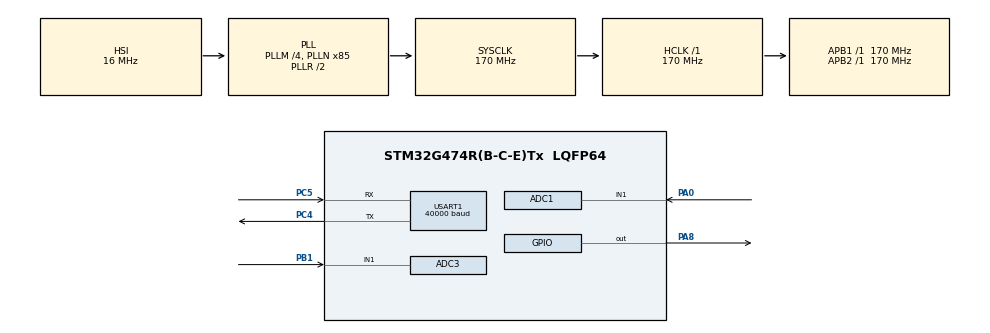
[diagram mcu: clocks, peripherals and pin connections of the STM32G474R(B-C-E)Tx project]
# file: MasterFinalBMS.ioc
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ADC1.Channel-0\#ChannelRegularConversion=ADC_CHANNEL_1
ADC1.ClockPrescaler=ADC_CLOCK_ASYNC_DIV4
ADC1.ContinuousConvMode=ENABLE
ADC1.NbrOfConversionFlag=1
ADC1.OffsetNumber-0\#ChannelRegularConversion=ADC_OFFSET_NONE
ADC1.OversamplingMode=ENABLE
ADC1.Rank-0\#ChannelRegularConversion=1
ADC1.Ratio=ADC_OVERSAMPLING_RATIO_256
ADC1.RightBitShift=ADC_RIGHTBITSHIFT_4
ADC1.SamplingTime-0\#ChannelRegularConversion=ADC_SAMPLETIME_2CYCLES_5
ADC1.master=1
ADC3.Channel-0\#ChannelRegularConversion=ADC_CHANNEL_1
ADC3.ClockPrescaler=ADC_CLOCK_ASYNC_DIV4
ADC3.ContinuousConvMode=ENABLE
ADC3.NbrOfConversionFlag=1
ADC3.OffsetNumber-0\#ChannelRegularConversion=ADC_OFFSET_NONE
ADC3.OversamplingMode=ENABLE
ADC3.Rank-0\#ChannelRegularConversion=1
ADC3.Ratio=ADC_OVERSAMPLING_RATIO_256
ADC3.RightBitShift=ADC_RIGHTBITSHIFT_4
ADC3.SamplingTime-0\#ChannelRegularConversion=ADC_SAMPLETIME_2CYCLES_5
ADC3.master=1
Mcu.Family=STM32G4
Mcu.Name=STM32G474R(B-C-E)Tx
Mcu.Package=LQFP64
NVIC.PriorityGroup=NVIC_PRIORITYGROUP_4
NVIC.USART1_IRQn=true\:0\:0\:false\:false\:true\:true\:true\:true
PA0.Mode=IN1-Single-Ended
PA0.Signal=ADC1_IN1
PA8.Signal=GPIO_Output
PB1.Mode=IN1-Single-Ended
PB1.Signal=ADC3_IN1
PC4.Mode=Asynchronous
PC4.Signal=USART1_TX
PC5.Mode=Asynchronous
PC5.Signal=USART1_RX
ProjectManager.HeapSize=0x200
ProjectManager.StackSize=0x400
ProjectManager.TargetToolchain=STM32CubeIDE
RCC.ADC12Freq_Value=170000000
RCC.ADC345Freq_Value=170000000
RCC.AHBFreq_Value=170000000
RCC.APB1Freq_Value=170000000
RCC.APB1TimFreq_Value=170000000
RCC.APB2Freq_Value=170000000
RCC.APB2TimFreq_Value=170000000
RCC.CortexFreq_Value=170000000
RCC.EXTERNAL_CLOCK_VALUE=12288000
RCC.HCLKFreq_Value=170000000
RCC.HSE_VALUE=8000000
RCC.HSI48_VALUE=48000000
RCC.HSI_VALUE=16000000
RCC.LSE_VALUE=32768
RCC.PLLM=RCC_PLLM_DIV4
RCC.PLLN=85
RCC.SYSCLKFreq_VALUE=170000000
RCC.SYSCLKSource=RCC_SYSCLKSOURCE_PLLCLK
RCC.USBFreq_Value=170000000
RCC.VCOOutputFreq_Value=340000000
USART1.BaudRate=40000
USART1.VirtualMode-Asynchronous=VM_ASYNC
VP_SYS_VS_DBSignals.Mode=DisableDeadBatterySignals
board=custom

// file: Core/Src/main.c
/* USER CODE BEGIN Header */
/**
  ******************************************************************************
  * @file           : main.c
  * @brief          : Main program body
  ******************************************************************************
  * @attention
  *
  * Copyright (c) 2024 STMicroelectronics.
  * All rights reserved.
  *
  * This software is licensed under terms that can be found in the LICENSE file
  * in the root directory of this software component.
  * If no LICENSE file comes with this software, it is provided AS-IS.
  *
  ******************************************************************************
  */
/* USER CODE END Header */
#include "main.h"

/* USER CODE BEGIN Includes */

#include<string.h>
#include<stdlib.h>
#include <stdbool.h>
#include <ctype.h>
#include<math.h>
/* USER CODE END Includes */

/* USER CODE BEGIN PD */

#define MAX_SLAVES 20
/* USER CODE END PD */

ADC_HandleTypeDef hadc1;
ADC_HandleTypeDef hadc3;

UART_HandleTypeDef huart1;

/* USER CODE BEGIN PV */

char dataRx[1];
char *received;
const char *tempString = "Temp: ";
const char *cellString = "Cell: ";
const char *balanceString = "Balancing: ";

uint64_t receivedVals[MAX_SLAVES][3];
float temp[MAX_SLAVES * 6];
uint16_t cells[MAX_SLAVES * 6];
bool balancing[MAX_SLAVES * 6];
uint8_t slaveNum;
int timerToSend = -1;
int numReadingsReceived = 0;
double totalV = 0;
float SOC = 0;
double Power = 0.0;

long adc, currentma, offsetma;

double energy_wh = 0.0;
double capacity_mah = 0.0;
/* USER CODE END PV */

void SystemClock_Config(void);
static void MX_GPIO_Init(void);
static void MX_ADC3_Init(void);
static void MX_ADC1_Init(void);
static void MX_USART1_UART_Init(void);

/* USER CODE BEGIN 0 */
int indexOf(char *source, char *key, int startIndex) {
	char *found = strstr((source + startIndex), key);
	if (found != NULL) {
		int index = found - source;
		return index;
	}
	return -1;
}
int lastIndexOf(char *source, char *key) {
	int i = -1;
	int index = -1;
	do {
		i = indexOf(source, key, i + 1);
		if (i != -1) {
			index = i;
		}
	} while (i != -1);
	return index;
}
bool startsWith(char *source, char *key) {
	return indexOf(source, key, 0) == 0;
}
char* substring(char *s, int a, int b) {
	char *t = malloc(sizeof(char) * ((b - a) + 1));
	for (int z = 0; z < (b - a) + 1; z++) {
		t[z] = 0x00;
	}
	strncpy(t, s + a, b - a);
	return t;
}
char* substring1(char *s, int a) {
	char *t = malloc(sizeof(char) * ((strlen(s) - a) + 1));
	for (int z = 0; z < ((strlen(s) - a) + 1); z++) {
		t[z] = 0x00;
	}
	strcpy(t, s + a);
	free(s);
	s = NULL;
	return t;
}
uint8_t extractDataInULL(char *serialIn) {
	uint8_t slaveNum = 0;
	if (indexOf(serialIn, "</C>", 0) != -1 && indexOf(serialIn, "<T>", 0) != -1
			&& (lastIndexOf(serialIn, "</T>\r\n") == (strlen(serialIn) - 6)
					|| lastIndexOf(serialIn, "</T>\n") == (strlen(serialIn) - 5))
			&& startsWith(serialIn, "<C>")) {
		uint8_t ReceivedCellCount = 0, ReceivedBalanceCount = 0,
				ReceivedTemperatureCount = 0;
		char *vals = substring(serialIn, indexOf(serialIn, "<C>", 0) + 3,
				indexOf(serialIn, "</C>", 0));
		serialIn = substring1(serialIn, indexOf(serialIn, "<B>", 0));
		while (indexOf(vals, ",", 0) != -1) {
			char *val = substring(vals, 0, indexOf(vals, ",", 0));
			receivedVals[ReceivedCellCount][0] = strtoull(val, NULL, 16);
			free(val);
			val = NULL;
			vals = substring1(vals, indexOf(vals, ",", 0) + 1);
			ReceivedCellCount++;
		}
		receivedVals[ReceivedCellCount][0] = strtoull(vals, NULL, 16);
		ReceivedCellCount++;

		free(vals);
		vals = substring(serialIn, indexOf(serialIn, "<B>", 0) + 3,
				indexOf(serialIn, "</B>", 0));
		serialIn = substring1(serialIn, indexOf(serialIn, "<T>", 0));
		while (indexOf(vals, ",", 0) != -1) {
			char *val = substring(vals, 0, indexOf(vals, ",", 0));
			receivedVals[ReceivedBalanceCount][1] = strtoull(val, NULL, 16);
			free(val);
			val = NULL;
			vals = substring1(vals, indexOf(vals, ",", 0) + 1);
			ReceivedBalanceCount++;
		}
		receivedVals[ReceivedBalanceCount][1] = strtoull(vals, NULL, 16);
		ReceivedBalanceCount++;

		free(vals);
		vals = substring(serialIn, indexOf(serialIn, "<T>", 0) + 3,
				indexOf(serialIn, "</T>", 0));
		free(serialIn);
		serialIn = NULL;
		while (indexOf(vals, ",", 0) != -1) {
			char *val = substring(vals, 0, indexOf(vals, ",", 0));
			receivedVals[ReceivedTemperatureCount][2] = strtoull(val, NULL, 16);
			free(val);
			val = NULL;
			vals = substring1(vals, indexOf(vals, ",", 0) + 1);
			ReceivedTemperatureCount++;
		}
		receivedVals[ReceivedTemperatureCount][2] = strtoull(vals, NULL, 16);
		ReceivedTemperatureCount++;

		free(vals);
		vals = NULL;
		if (ReceivedCellCount != ReceivedBalanceCount
				|| ReceivedCellCount != ReceivedTemperatureCount) {
			ReceivedCellCount = 0;
			ReceivedBalanceCount = 0;
			ReceivedTemperatureCount = 0;
		}
		slaveNum = ReceivedCellCount;

	}

	/*  vals = serialIn.substring(serialIn.indexOf("<B>") + 3, serialIn.indexOf("</B>"));
	 serialIn = serialIn.substring(serialIn.indexOf("<T>"));

	 while (vals.indexOf(',') != -1) {
	 receivedVals[ReceivedBalanceCount][1] = stringToUint(vals.substring(0, vals.indexOf(',')).c_str());
	 vals = vals.substring(vals.indexOf(',') + 1);
	 ReceivedBalanceCount++;
	 }
	 receivedVals[ReceivedBalanceCount][1] = stringToUint(vals.c_str());
	 ReceivedBalanceCount++;

	 vals = serialIn.substring(serialIn.indexOf("<T>") + 3, serialIn.indexOf("</T>"));
	 serialIn = "";

	 while (vals.indexOf(',') != -1) {
	 receivedVals[ReceivedTemperatureCount][2] = stringToUint(vals.substring(0, vals.indexOf(',')).c_str());
	 vals = vals.substring(vals.indexOf(',') + 1);
	 ReceivedTemperatureCount++;
	 }
	 receivedVals[ReceivedTemperatureCount][2] = stringToUint(vals.c_str());
	 ReceivedTemperatureCount++;

	 if (ReceivedCellCount != ReceivedBalanceCount || ReceivedCellCount != ReceivedTemperatureCount) {
	 ReceivedCellCount = 0;
	 ReceivedBalanceCount = 0;
	 ReceivedTemperatureCount = 0;
	 }*/
	//  slaveNum = ReceivedCellCount;
	//}
	return slaveNum;
}

void extractTemperatures() {
	for (int i = 0; i < MAX_SLAVES * 6; i++) {
		temp[i] = 0;
	}
	for (int i = 0; i < slaveNum; i++) {
		for (int j = 0; j < 6; j++) {
			temp[(i * 6) + j] = ((float)((receivedVals[i][2] >> j * 10) & 0x3FF))/10.0;
		}
	}
	for (int i = 0; i < MAX_SLAVES * 6; i++) {
		//Serial.print("Temp " + String(i+1) + ": ");
		//HAL_UART_Transmit(&huart1, tempString, strlen(tempString), 10);
		char d[5];
		sprintf(d, "%d\n", temp[i]);
		//HAL_UART_Transmit(&huart1, d, strlen(d), 10);
		// Serial.println(temp[i]);
	}
}

void extractCells() {
	for (int i = 0; i < MAX_SLAVES * 6; i++) {
		cells[i] = 0;
		balancing[i] = 0;
	}
	for (int i = 0; i < slaveNum; i++) {
		for (int j = 0; j < 6; j++) {
			cells[(i * 6) + j] =
					(((receivedVals[i][0] >> j * 10) & 0x3FF) * 5.0) / 1.023;
			balancing[(i * 6) + j] = (receivedVals[i][1] >> j) & 0x01;
		}
	}
	for (int i = 0; i < MAX_SLAVES * 6; i++) {

		char d[30];
		sprintf(d, "%s%d\t%s%d\n", cellString, cells[i], balanceString,
				balancing[i]);
		//HAL_UART_Transmit(&huart1, d, strlen(d), 50);
		// Serial.println("Cell " + String(i+1) + ": " + String(cells[i]) + "\t Balancing: " + balancing[i]);
	}
}

void calcSOC(){
	totalV = 0;
	for (int i = 0; i < MAX_SLAVES * 6; i++) {
			totalV += cells[i]/1000.0;
		}
	SOC = ((cbrt((totalV/((double)slaveNum*6.0))-3.70000)+0.9)/1.7)*100;
}

void parseDataIfValid(char *data) {
	slaveNum = extractDataInULL(data);
	if (slaveNum > 0) {
		extractTemperatures();
		extractCells();
		calcSOC();
		numReadingsReceived++;
	}
}
void HAL_UART_RxCpltCallback(UART_HandleTypeDef *huart) {
	if (received == NULL) {
		received = malloc(sizeof(char) * 2);
		received[0] = 0x00;
		received[1] = 0x00;
	} else {
		received = realloc(received, sizeof(char) * (strlen(received) + 2));
	}

	strcat(received, dataRx);
	if (dataRx[0] == '\n') {
		/*for (int i = 0; i<500; i++)
		 rx[i] = 0x00;
		 strcpy(rx, received);*/
		parseDataIfValid(received);
		//HAL_UART_Transmit(&huart1, received, strlen(received), strlen(received)*2);
		free(received);
		received = NULL;
		timerToSend = 100;
	} else if (strlen(received) > 1000) {
		free(received);
		received = NULL;
	}
	HAL_UART_Receive_IT(&huart1, dataRx, 1);

}
/* USER CODE END 0 */

int main(void)
{

  /* MCU Configuration--------------------------------------------------------*/

  /* Reset of all peripherals, Initializes the Flash interface and the Systick. */
  HAL_Init();

  /* Configure the system clock */
  SystemClock_Config();

  /* Initialize all configured peripherals */
  MX_GPIO_Init();
  MX_ADC3_Init();
  MX_ADC1_Init();
  MX_USART1_UART_Init();
  /* USER CODE BEGIN 2 */
  HAL_UART_Receive_IT(&huart1, dataRx, 1);
	timerToSend = 100;
  HAL_ADCEx_Calibration_Start(&hadc3, ADC_SINGLE_ENDED);
  HAL_Delay(1000);

  HAL_ADC_Start(&hadc3);
  	  		HAL_ADC_PollForConversion(&hadc3, 2);
  	  		adc = HAL_ADC_GetValue(&hadc3);
  	  		offsetma = (adc*1.07642626);
  	  		HAL_ADC_Stop(&hadc3);

  	  	HAL_GPIO_WritePin(GPIOA, GPIO_PIN_8, GPIO_PIN_SET);

 // HAL_ADCEx_Calibration_Start(&hadc1, ADC_SINGLE_ENDED);
  /* USER CODE END 2 */

  /* Infinite loop */
  while (1)
  {

    /* USER CODE BEGIN 3 */
	  HAL_ADC_Start(&hadc3);
	  		HAL_ADC_PollForConversion(&hadc3, 2);
	  		adc = HAL_ADC_GetValue(&hadc3);
	  		currentma = (adc*1.07642626) - offsetma;
	  		HAL_ADC_Stop(&hadc3);

	  		Power = (totalV * currentma)/1000.0;
	  		energy_wh += Power/36000.0;
	  		capacity_mah += currentma/36000.0;
	  		/*if (currentma < 1000) {
	  			HAL_ADC_PollForConversion(&hadc1, 2);
	  			adc = HAL_ADC_GetValue(&hadc1);
	  			currentma = (adc*1.07642626)*46;
	  			HAL_ADC_Stop(&hadc1);
	  		}*/
	  		HAL_Delay(100);
  }
  /* USER CODE END 3 */
}

void SystemClock_Config(void)
{
  RCC_OscInitTypeDef RCC_OscInitStruct = {0};
  RCC_ClkInitTypeDef RCC_ClkInitStruct = {0};

  /** Configure the main internal regulator output voltage
  */
  HAL_PWREx_ControlVoltageScaling(PWR_REGULATOR_VOLTAGE_SCALE1_BOOST);

  /** Initializes the RCC Oscillators according to the specified parameters
  * in the RCC_OscInitTypeDef structure.
  */
  RCC_OscInitStruct.OscillatorType = RCC_OSCILLATORTYPE_HSI;
  RCC_OscInitStruct.HSIState = RCC_HSI_ON;
  RCC_OscInitStruct.HSICalibrationValue = RCC_HSICALIBRATION_DEFAULT;
  RCC_OscInitStruct.PLL.PLLState = RCC_PLL_ON;
  RCC_OscInitStruct.PLL.PLLSource = RCC_PLLSOURCE_HSI;
  RCC_OscInitStruct.PLL.PLLM = RCC_PLLM_DIV4;
  RCC_OscInitStruct.PLL.PLLN = 85;
  RCC_OscInitStruct.PLL.PLLP = RCC_PLLP_DIV2;
  RCC_OscInitStruct.PLL.PLLQ = RCC_PLLQ_DIV2;
  RCC_OscInitStruct.PLL.PLLR = RCC_PLLR_DIV2;
  if (HAL_RCC_OscConfig(&RCC_OscInitStruct) != HAL_OK)
  {
    Error_Handler();
  }

  /** Initializes the CPU, AHB and APB buses clocks
  */
  RCC_ClkInitStruct.ClockType = RCC_CLOCKTYPE_HCLK|RCC_CLOCKTYPE_SYSCLK
                              |RCC_CLOCKTYPE_PCLK1|RCC_CLOCKTYPE_PCLK2;
  RCC_ClkInitStruct.SYSCLKSource = RCC_SYSCLKSOURCE_PLLCLK;
  RCC_ClkInitStruct.AHBCLKDivider = RCC_SYSCLK_DIV1;
  RCC_ClkInitStruct.APB1CLKDivider = RCC_HCLK_DIV1;
  RCC_ClkInitStruct.APB2CLKDivider = RCC_HCLK_DIV1;

  if (HAL_RCC_ClockConfig(&RCC_ClkInitStruct, FLASH_LATENCY_4) != HAL_OK)
  {
    Error_Handler();
  }
}

static void MX_ADC1_Init(void)
{

  ADC_MultiModeTypeDef multimode = {0};
  ADC_ChannelConfTypeDef sConfig = {0};

  /** Common config
  */
  hadc1.Instance = ADC1;
  hadc1.Init.ClockPrescaler = ADC_CLOCK_ASYNC_DIV4;
  hadc1.Init.Resolution = ADC_RESOLUTION_12B;
  hadc1.Init.DataAlign = ADC_DATAALIGN_RIGHT;
  hadc1.Init.GainCompensation = 0;
  hadc1.Init.ScanConvMode = ADC_SCAN_DISABLE;
  hadc1.Init.EOCSelection = ADC_EOC_SINGLE_CONV;
  hadc1.Init.LowPowerAutoWait = DISABLE;
  hadc1.Init.ContinuousConvMode = ENABLE;
  hadc1.Init.NbrOfConversion = 1;
  hadc1.Init.DiscontinuousConvMode = DISABLE;
  hadc1.Init.ExternalTrigConv = ADC_SOFTWARE_START;
  hadc1.Init.ExternalTrigConvEdge = ADC_EXTERNALTRIGCONVEDGE_NONE;
  hadc1.Init.DMAContinuousRequests = DISABLE;
  hadc1.Init.Overrun = ADC_OVR_DATA_PRESERVED;
  hadc1.Init.OversamplingMode = ENABLE;
  hadc1.Init.Oversampling.Ratio = ADC_OVERSAMPLING_RATIO_256;
  hadc1.Init.Oversampling.RightBitShift = ADC_RIGHTBITSHIFT_4;
  hadc1.Init.Oversampling.TriggeredMode = ADC_TRIGGEREDMODE_SINGLE_TRIGGER;
  hadc1.Init.Oversampling.OversamplingStopReset = ADC_REGOVERSAMPLING_CONTINUED_MODE;
  if (HAL_ADC_Init(&hadc1) != HAL_OK)
  {
    Error_Handler();
  }

  /** Configure the ADC multi-mode
  */
  multimode.Mode = ADC_MODE_INDEPENDENT;
  if (HAL_ADCEx_MultiModeConfigChannel(&hadc1, &multimode) != HAL_OK)
  {
    Error_Handler();
  }

  /** Configure Regular Channel
  */
  sConfig.Channel = ADC_CHANNEL_1;
  sConfig.Rank = ADC_REGULAR_RANK_1;
  sConfig.SamplingTime = ADC_SAMPLETIME_2CYCLES_5;
  sConfig.SingleDiff = ADC_SINGLE_ENDED;
  sConfig.OffsetNumber = ADC_OFFSET_NONE;
  sConfig.Offset = 0;
  if (HAL_ADC_ConfigChannel(&hadc1, &sConfig) != HAL_OK)
  {
    Error_Handler();
  }

}

static void MX_ADC3_Init(void)
{

  ADC_MultiModeTypeDef multimode = {0};
  ADC_ChannelConfTypeDef sConfig = {0};

  /** Common config
  */
  hadc3.Instance = ADC3;
  hadc3.Init.ClockPrescaler = ADC_CLOCK_ASYNC_DIV4;
  hadc3.Init.Resolution = ADC_RESOLUTION_12B;
  hadc3.Init.DataAlign = ADC_DATAALIGN_RIGHT;
  hadc3.Init.GainCompensation = 0;
  hadc3.Init.ScanConvMode = ADC_SCAN_DISABLE;
  hadc3.Init.EOCSelection = ADC_EOC_SINGLE_CONV;
  hadc3.Init.LowPowerAutoWait = DISABLE;
  hadc3.Init.ContinuousConvMode = ENABLE;
  hadc3.Init.NbrOfConversion = 1;
  hadc3.Init.DiscontinuousConvMode = DISABLE;
  hadc3.Init.ExternalTrigConv = ADC_SOFTWARE_START;
  hadc3.Init.ExternalTrigConvEdge = ADC_EXTERNALTRIGCONVEDGE_NONE;
  hadc3.Init.DMAContinuousRequests = DISABLE;
  hadc3.Init.Overrun = ADC_OVR_DATA_PRESERVED;
  hadc3.Init.OversamplingMode = ENABLE;
  hadc3.Init.Oversampling.Ratio = ADC_OVERSAMPLING_RATIO_256;
  hadc3.Init.Oversampling.RightBitShift = ADC_RIGHTBITSHIFT_4;
  hadc3.Init.Oversampling.TriggeredMode = ADC_TRIGGEREDMODE_SINGLE_TRIGGER;
  hadc3.Init.Oversampling.OversamplingStopReset = ADC_REGOVERSAMPLING_CONTINUED_MODE;
  if (HAL_ADC_Init(&hadc3) != HAL_OK)
  {
    Error_Handler();
  }

  /** Configure the ADC multi-mode
  */
  multimode.Mode = ADC_MODE_INDEPENDENT;
  if (HAL_ADCEx_MultiModeConfigChannel(&hadc3, &multimode) != HAL_OK)
  {
    Error_Handler();
  }

  /** Configure Regular Channel
  */
  sConfig.Channel = ADC_CHANNEL_1;
  sConfig.Rank = ADC_REGULAR_RANK_1;
  sConfig.SamplingTime = ADC_SAMPLETIME_2CYCLES_5;
  sConfig.SingleDiff = ADC_SINGLE_ENDED;
  sConfig.OffsetNumber = ADC_OFFSET_NONE;
  sConfig.Offset = 0;
  if (HAL_ADC_ConfigChannel(&hadc3, &sConfig) != HAL_OK)
  {
    Error_Handler();
  }

}

static void MX_USART1_UART_Init(void)
{

  huart1.Instance = USART1;
  huart1.Init.BaudRate = 40000;
  huart1.Init.WordLength = UART_WORDLENGTH_8B;
  huart1.Init.StopBits = UART_STOPBITS_1;
  huart1.Init.Parity = UART_PARITY_NONE;
  huart1.Init.Mode = UART_MODE_TX_RX;
  huart1.Init.HwFlowCtl = UART_HWCONTROL_NONE;
  huart1.Init.OverSampling = UART_OVERSAMPLING_16;
  huart1.Init.OneBitSampling = UART_ONE_BIT_SAMPLE_DISABLE;
  huart1.Init.ClockPrescaler = UART_PRESCALER_DIV1;
  huart1.AdvancedInit.AdvFeatureInit = UART_ADVFEATURE_NO_INIT;
  if (HAL_UART_Init(&huart1) != HAL_OK)
  {
    Error_Handler();
  }
  if (HAL_UARTEx_SetTxFifoThreshold(&huart1, UART_TXFIFO_THRESHOLD_1_8) != HAL_OK)
  {
    Error_Handler();
  }
  if (HAL_UARTEx_SetRxFifoThreshold(&huart1, UART_RXFIFO_THRESHOLD_1_8) != HAL_OK)
  {
    Error_Handler();
  }
  if (HAL_UARTEx_DisableFifoMode(&huart1) != HAL_OK)
  {
    Error_Handler();
  }

}

static void MX_GPIO_Init(void)
{
  GPIO_InitTypeDef GPIO_InitStruct = {0};

  /* GPIO Ports Clock Enable */
  __HAL_RCC_GPIOA_CLK_ENABLE();
  __HAL_RCC_GPIOC_CLK_ENABLE();
  __HAL_RCC_GPIOB_CLK_ENABLE();

  /*Configure GPIO pin Output Level */
  HAL_GPIO_WritePin(GPIOA, GPIO_PIN_8, GPIO_PIN_RESET);

  /*Configure GPIO pin : PA8 */
  GPIO_InitStruct.Pin = GPIO_PIN_8;
  GPIO_InitStruct.Mode = GPIO_MODE_OUTPUT_PP;
  GPIO_InitStruct.Pull = GPIO_NOPULL;
  GPIO_InitStruct.Speed = GPIO_SPEED_FREQ_LOW;
  HAL_GPIO_Init(GPIOA, &GPIO_InitStruct);

}

void Error_Handler(void)
{
  __disable_irq();
  while (1)
  {
  }
}
